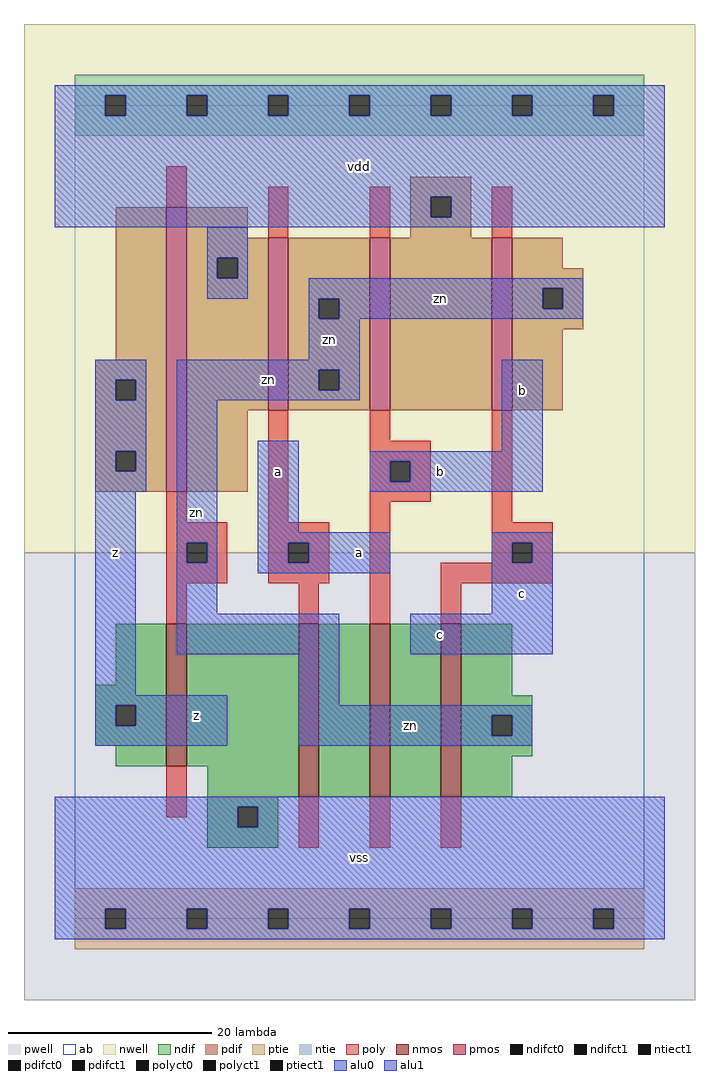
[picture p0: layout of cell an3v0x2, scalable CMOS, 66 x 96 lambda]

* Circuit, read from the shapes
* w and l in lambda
.subckt an3v0x2 a b c vdd vss z zn
M1 vss zn z vss nfet w=14 l=2
M2 n1 a vss vss nfet w=17 l=2
M3 n2 b n1 vss nfet w=17 l=2
M4 zn c n2 vss nfet w=17 l=2
M5 vdd zn z vdd pfet w=28 l=2
M6 zn a vdd vdd pfet w=17 l=2
M7 vdd b zn vdd pfet w=17 l=2
M8 zn c vdd vdd pfet w=17 l=2
.ends

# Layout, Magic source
magic
tech scmos
<< ab >>
rect 0 0 56 80
<< nwell >>
rect -5 36 61 88
<< pwell >>
rect -5 -8 61 36
<< poly >>
rect 9 70 11 74
rect 19 67 21 72
rect 29 67 31 72
rect 41 67 43 72
rect 9 39 11 42
rect 19 39 21 50
rect 29 47 31 50
rect 29 45 35 47
rect 29 43 31 45
rect 33 43 35 45
rect 29 41 35 43
rect 9 37 15 39
rect 9 35 11 37
rect 13 35 15 37
rect 9 33 15 35
rect 19 37 25 39
rect 19 35 21 37
rect 23 35 25 37
rect 19 33 25 35
rect 9 29 11 33
rect 22 29 24 33
rect 29 29 31 41
rect 41 39 43 50
rect 41 37 47 39
rect 41 35 43 37
rect 45 35 47 37
rect 36 33 47 35
rect 36 29 38 33
rect 9 10 11 15
rect 22 7 24 12
rect 29 7 31 12
rect 36 7 38 12
<< ndif >>
rect 4 23 9 29
rect 2 21 9 23
rect 2 19 4 21
rect 6 19 9 21
rect 2 17 9 19
rect 4 15 9 17
rect 11 15 22 29
rect 13 12 22 15
rect 24 12 29 29
rect 31 12 36 29
rect 38 22 43 29
rect 38 20 45 22
rect 38 18 41 20
rect 43 18 45 20
rect 38 16 45 18
rect 38 12 43 16
rect 13 11 20 12
rect 13 9 16 11
rect 18 9 20 11
rect 13 7 20 9
<< pdif >>
rect 4 55 9 70
rect 2 53 9 55
rect 2 51 4 53
rect 6 51 9 53
rect 2 46 9 51
rect 2 44 4 46
rect 6 44 9 46
rect 2 42 9 44
rect 11 67 17 70
rect 33 71 39 73
rect 33 69 35 71
rect 37 69 39 71
rect 33 67 39 69
rect 11 65 19 67
rect 11 63 14 65
rect 16 63 19 65
rect 11 50 19 63
rect 21 61 29 67
rect 21 59 24 61
rect 26 59 29 61
rect 21 54 29 59
rect 21 52 24 54
rect 26 52 29 54
rect 21 50 29 52
rect 31 50 41 67
rect 43 64 48 67
rect 43 62 50 64
rect 43 60 46 62
rect 48 60 50 62
rect 43 58 50 60
rect 43 50 48 58
rect 11 42 17 50
<< alu1 >>
rect -2 81 58 82
rect -2 79 3 81
rect 5 79 11 81
rect 13 79 19 81
rect 21 79 27 81
rect 29 79 35 81
rect 37 79 43 81
rect 45 79 51 81
rect 53 79 58 81
rect -2 71 58 79
rect -2 69 35 71
rect 37 69 58 71
rect -2 68 58 69
rect 2 53 7 55
rect 2 51 4 53
rect 6 51 7 53
rect 2 46 7 51
rect 2 44 4 46
rect 6 44 7 46
rect 2 42 7 44
rect 2 22 6 42
rect 18 38 22 47
rect 42 46 46 55
rect 29 45 46 46
rect 29 43 31 45
rect 33 43 46 45
rect 29 42 46 43
rect 18 37 31 38
rect 18 35 21 37
rect 23 35 31 37
rect 18 34 31 35
rect 41 37 47 38
rect 41 35 43 37
rect 45 35 47 37
rect 41 30 47 35
rect 33 26 47 30
rect 2 21 15 22
rect 2 19 4 21
rect 6 19 15 21
rect 2 17 15 19
rect -2 11 58 12
rect -2 9 16 11
rect 18 9 58 11
rect -2 1 58 9
rect -2 -1 3 1
rect 5 -1 11 1
rect 13 -1 19 1
rect 21 -1 27 1
rect 29 -1 35 1
rect 37 -1 43 1
rect 45 -1 51 1
rect 53 -1 58 1
rect -2 -2 58 -1
<< ptie >>
rect 0 1 56 3
rect 0 -1 3 1
rect 5 -1 11 1
rect 13 -1 19 1
rect 21 -1 27 1
rect 29 -1 35 1
rect 37 -1 43 1
rect 45 -1 51 1
rect 53 -1 56 1
rect 0 -3 56 -1
<< ntie >>
rect 0 81 56 83
rect 0 79 3 81
rect 5 79 11 81
rect 13 79 19 81
rect 21 79 27 81
rect 29 79 35 81
rect 37 79 43 81
rect 45 79 51 81
rect 53 79 56 81
rect 0 77 56 79
<< nmos >>
rect 9 15 11 29
rect 22 12 24 29
rect 29 12 31 29
rect 36 12 38 29
<< pmos >>
rect 9 42 11 70
rect 19 50 21 67
rect 29 50 31 67
rect 41 50 43 67
<< polyct0 >>
rect 11 35 13 37
<< polyct1 >>
rect 31 43 33 45
rect 21 35 23 37
rect 43 35 45 37
<< ndifct0 >>
rect 41 18 43 20
<< ndifct1 >>
rect 4 19 6 21
rect 16 9 18 11
<< ntiect1 >>
rect 3 79 5 81
rect 11 79 13 81
rect 19 79 21 81
rect 27 79 29 81
rect 35 79 37 81
rect 43 79 45 81
rect 51 79 53 81
<< ptiect1 >>
rect 3 -1 5 1
rect 11 -1 13 1
rect 19 -1 21 1
rect 27 -1 29 1
rect 35 -1 37 1
rect 43 -1 45 1
rect 51 -1 53 1
<< pdifct0 >>
rect 14 63 16 65
rect 24 59 26 61
rect 24 52 26 54
rect 46 60 48 62
<< pdifct1 >>
rect 4 51 6 53
rect 4 44 6 46
rect 35 69 37 71
<< alu0 >>
rect 13 65 17 68
rect 13 63 14 65
rect 16 63 17 65
rect 13 61 17 63
rect 23 62 50 63
rect 23 61 46 62
rect 23 59 24 61
rect 26 60 46 61
rect 48 60 50 62
rect 26 59 50 60
rect 23 55 28 59
rect 10 54 28 55
rect 10 52 24 54
rect 26 52 28 54
rect 10 51 28 52
rect 10 37 14 51
rect 10 35 11 37
rect 13 35 14 37
rect 10 30 14 35
rect 10 26 26 30
rect 22 21 26 26
rect 22 20 45 21
rect 22 18 41 20
rect 43 18 45 20
rect 22 17 45 18
<< labels >>
rlabel alu0 12 40 12 40 6 zn
rlabel alu0 19 53 19 53 6 zn
rlabel alu0 25 57 25 57 6 zn
rlabel alu0 33 19 33 19 6 zn
rlabel alu0 36 61 36 61 6 zn
rlabel alu1 4 36 4 36 6 z
rlabel alu1 12 20 12 20 6 z
rlabel alu1 20 44 20 44 6 a
rlabel alu1 28 6 28 6 6 vss
rlabel alu1 28 36 28 36 6 a
rlabel alu1 36 28 36 28 6 c
rlabel alu1 36 44 36 44 6 b
rlabel alu1 28 74 28 74 6 vdd
rlabel alu1 44 32 44 32 6 c
rlabel alu1 44 52 44 52 6 b
<< end >>
